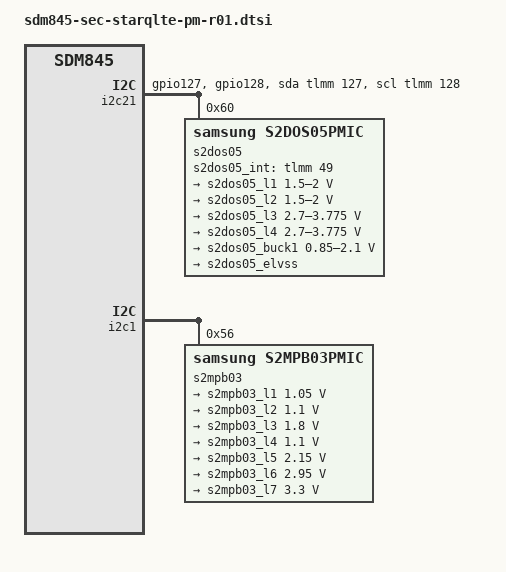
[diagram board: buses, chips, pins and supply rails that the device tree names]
/* Copyright (c) 2014, The Linux Foundation. All rights reserved.
 *
 * This program is free software; you can redistribute it and/or modify
 * it under the terms of the GNU General Public License version 2 and
 * only version 2 as published by the Free Software Foundation.
 *
 * This program is distributed in the hope that it will be useful,
 * but WITHOUT ANY WARRANTY; without even the implied warranty of
 * MERCHANTABILITY or FITNESS FOR A PARTICULAR PURPOSE.  See the
 * GNU General Public License for more details.
 */

&soc {
	tlmm: pinctrl@03400000 {
		s2dos05_i2c_sda {
			s2dos05_i2c_sda_default: s2dos05_i2c_sda_default {
				s2dos05_i2c_sda {
					pins = "gpio127";
					drive-strength = <2>;
					bias-disable;
				};
			};
		};
		s2dos05_i2c_scl {
			s2dos05_i2c_scl_default: s2dos05_i2c_scl_default {
				s2dos05_i2c_scl {
					pins = "gpio128";
					drive-strength = <2>;
					bias-disable;
				};
			};
		};
		s2dos05_irq {
		       s2dos05_irq_default: s2dos05_irq_default {
			       s2dos05_irq {
				       pins = "gpio49";
				       drive-strength = <2>;
				       bias-disable;
			       };
		       };
		};
	};

	/* S2DOS05 Display PMIC */
	i2c21: i2c@21 {
		cell-index = <21>;
		compatible = "i2c-gpio";
		gpios = <&tlmm 127 0 /* sda */
			&tlmm 128 0 /* scl */
		>;
		#i2c-gpio,delay-us = <2>;
		#address-cells = <1>;
		#size-cells = <0>;

		pinctrl-names = "default";
		pinctrl-0 = <&s2dos05_i2c_sda_default &s2dos05_i2c_scl_default>;

		s2dos05@60 {
			compatible = "samsung,s2dos05pmic";
			reg = <0x60>;
			adc_mode = <2>; /* 0 : disable, 1 : current meter, 2 : power meter */
			adc_sync_mode = <2>; /* 1 : sync mode, 2 : async mode */

			pinctrl-names = "default";
			pinctrl-0 = <&s2dos05_irq_default>;
			s2dos05,s2dos05_int = <&tlmm 49 0>;

			regulators {
				s2dos05_l1: s2dos05-ldo1 {
					regulator-name = "s2dos05-ldo1";
					regulator-min-microvolt = <1500000>;
					regulator-max-microvolt = <2000000>;
					regulator-active-discharge = <1>;
				};

				s2dos05_l2: s2dos05-ldo2 {
					regulator-name = "s2dos05-ldo2";
					regulator-min-microvolt = <1500000>;
					regulator-max-microvolt = <2000000>;
					regulator-active-discharge = <1>;
				};

				s2dos05_l3: s2dos05-ldo3 {
					regulator-name = "s2dos05-ldo3";
					regulator-min-microvolt = <2700000>;
					regulator-max-microvolt = <3775000>;
					regulator-active-discharge = <1>;
				};

				s2dos05_l4: s2dos05-ldo4 {
					regulator-name = "s2dos05-ldo4";
					regulator-min-microvolt = <2700000>;
					regulator-max-microvolt = <3775000>;
					regulator-active-discharge = <1>;
				};

				s2dos05_buck1: s2dos05-buck1 {
					regulator-name = "s2dos05-buck1";
					regulator-min-microvolt = <850000>;
					regulator-max-microvolt = <2100000>;
					regulator-active-discharge = <1>;
				};

				s2dos05_elvss: s2dos05-elvss {
					regulator-name = "s2dos05-elvss";
				};
			};
		};
	};

	i2c1: i2c@1 {
		/* S2MPB03 Camera PMIC */
		s2mpb03@56 {
			compatible = "samsung,s2mpb03pmic";
			reg = <0x56>;
			additional_reg_init;

			regulators {
				s2mpb03_l1: s2mpb03-ldo1 {
					regulator-name = "s2mpb03-ldo1";
					regulator-min-microvolt = <1050000>;
					regulator-max-microvolt = <1050000>;
				};

				s2mpb03_l2: s2mpb03-ldo2 {
					regulator-name = "s2mpb03-ldo2";
					regulator-min-microvolt = <1100000>;
					regulator-max-microvolt = <1100000>;
				};

				s2mpb03_l3: s2mpb03-ldo3 {
					regulator-name = "s2mpb03-ldo3";
					regulator-min-microvolt = <1800000>;
					regulator-max-microvolt = <1800000>;
				};

				s2mpb03_l4: s2mpb03-ldo4 {
					regulator-name = "s2mpb03-ldo4";
					regulator-min-microvolt = <1100000>;
					regulator-max-microvolt = <1100000>;
				};

				s2mpb03_l5: s2mpb03-ldo5 {
					regulator-name = "s2mpb03-ldo5";
					regulator-min-microvolt = <2150000>;
					regulator-max-microvolt = <2150000>;
				};

				s2mpb03_l6: s2mpb03-ldo6 {
					regulator-name = "s2mpb03-ldo6";
					regulator-min-microvolt = <2950000>;
					regulator-max-microvolt = <2950000>;
				};

				s2mpb03_l7: s2mpb03-ldo7 {
					regulator-name = "s2mpb03-ldo7";
					regulator-min-microvolt = <3300000>;
					regulator-max-microvolt = <3300000>;
				};
			};
		};
	};
};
